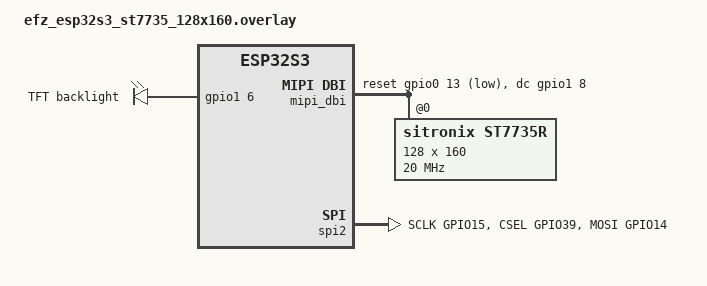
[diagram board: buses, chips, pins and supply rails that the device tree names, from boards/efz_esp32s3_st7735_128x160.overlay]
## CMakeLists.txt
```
#-------------------------------------------------------------------------------
# efz-handson application
#
# Copyright (c) 2021 Nordic Semiconductor ASA
# SPDX-License-Identifier: Apache-2.0

cmake_minimum_required(VERSION 3.13.1)

# 1.8" ST7735 by default, override with -DEXTRA_DTC_OVERLAY_FILE
if(NOT DEFINED EXTRA_DTC_OVERLAY_FILE)
  set(EXTRA_DTC_OVERLAY_FILE boards/efz_esp32s3_st7735_128x160.overlay)
endif()

find_package(Zephyr REQUIRED HINTS $ENV{ZEPHYR_BASE})

project(app LANGUAGES C)

target_include_directories(app PRIVATE src)
target_sources(app PRIVATE
  src/main.c
  src/lcd/lcd_show.c
)

# Modules
target_sources_ifdef(CONFIG_APP_MODULE_ENV app PRIVATE
  src/modules/env/env.c
  src/modules/env/env_page.c
)
target_sources_ifdef(CONFIG_APP_MODULE_IO app PRIVATE
  src/modules/io/io.c
  src/modules/io/io_page.c
)

# The code below locates the git index file for this repository and adds it as a dependency for
# the application VERSION file so that if the repo has a new commit added, even if no files in
# the build have changed, the application version file will be regenerated with the new git commit
find_package(Git QUIET)
if(GIT_FOUND)
  execute_process(
    COMMAND ${GIT_EXECUTABLE} rev-parse --absolute-git-dir
    WORKING_DIRECTORY .
    OUTPUT_VARIABLE application_git_dir
    OUTPUT_STRIP_TRAILING_WHITESPACE
    ERROR_STRIP_TRAILING_WHITESPACE
    ERROR_VARIABLE stderr
    RESULT_VARIABLE return_code
  )
  # If there is an error e.g. it is not a git repo, we just silently ignore it and continue
  # without a dependency, this will be the case with freestanding applications.
  if(NOT return_code)
    if(NOT "${stderr}" STREQUAL "")
      message(WARNING "Application build version git rev-parse warned: ${stderr}")
    endif()

    set_property(TARGET app_version_h PROPERTY APP_VERSION_DEPENDS ${application_git_dir}/index)
  endif()
endif()
```

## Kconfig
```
# Copyright (c) 2021 Nordic Semiconductor ASA
# SPDX-License-Identifier: Apache-2.0
#
# This file is the application Kconfig entry point. All application Kconfig
# options can be defined here or included via other application Kconfig files.
# You can browse these options using the west targets menuconfig (terminal) or
# guiconfig (GUI).

menu "Modules"
rsource "src/modules/env/Kconfig"
rsource "src/modules/io/Kconfig"
endmenu

menu "Zephyr"
source "Kconfig.zephyr"
endmenu

module = APP
module-str = APP
source "subsys/logging/Kconfig.template.log_config"
```

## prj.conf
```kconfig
# Copyright (c) 2021 Nordic Semiconductor ASA
# SPDX-License-Identifier: Apache-2.0
#
# This file contains selected Kconfig options for the application.

CONFIG_LOG=y
CONFIG_CBPRINTF_FP_SUPPORT=y

# Modules, all on by default
# CONFIG_APP_MODULE_ENV=n
# CONFIG_APP_MODULE_IO=n

# LCD
CONFIG_GPIO=y
CONFIG_INPUT=y
CONFIG_DISPLAY=y
CONFIG_ZBUS=y
CONFIG_ZBUS_MSG_SUBSCRIBER=y
CONFIG_ZBUS_CHANNEL_NAME=y
CONFIG_LVGL=y
CONFIG_LV_Z_MEM_POOL_SIZE=32768
CONFIG_LV_USE_CHART=y
CONFIG_LV_USE_BAR=y
CONFIG_LV_FONT_MONTSERRAT_10=y
CONFIG_LV_FONT_MONTSERRAT_12=y
CONFIG_LV_FONT_MONTSERRAT_24=y
```

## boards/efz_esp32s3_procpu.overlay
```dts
/* Read the SHT30 with our own driver instead of Zephyr's sht3xd. */
&sht30 {
	compatible = "embeddedfun,sht30";
};
```

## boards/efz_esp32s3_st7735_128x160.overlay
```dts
/*
 * EFZ-ESP32S3 + 1.8" TFT, ST7735, 128x160 portrait, SPI (8-pin header module).
 *
 * Jumper wires:
 *   GND -> GND, VDD -> 3V3, SCL -> GPIO15, SDA -> GPIO14, RES -> GPIO13,
 *   DC -> GPIO40, CS -> GPIO39, BL -> GPIO38.
 *
 * SPDX-License-Identifier: Apache-2.0
 */

#include <zephyr/dt-bindings/mipi_dbi/mipi_dbi.h>
#include <zephyr/dt-bindings/display/panel.h>

/ {
	chosen {
		zephyr,display = &st7735r;
	};

	mipi_dbi {
		compatible = "zephyr,mipi-dbi-spi";
		spi-dev = <&spi2>;
		dc-gpios = <&gpio1 8 GPIO_ACTIVE_HIGH>;		/* GPIO40 */
		reset-gpios = <&gpio0 13 GPIO_ACTIVE_LOW>;	/* GPIO13 */
		write-only;
		#address-cells = <1>;
		#size-cells = <0>;

		/* init values from the st7735r_ada_160x128 shield */
		st7735r: st7735r@0 {
			compatible = "sitronix,st7735r";
			reg = <0>;
			mipi-max-frequency = <20000000>;
			mipi-mode = "MIPI_DBI_MODE_SPI_4WIRE";
			width = <128>;
			height = <160>;
			x-offset = <2>;
			y-offset = <1>;
			madctl = <0xc0>;
			/* panel wants big-endian RGB565 */
			rgb-is-inverted;
			colmod = <0x55>;
			vmctr1 = <0x0e>;
			pwctr1 = [a2 02 84];
			pwctr2 = [c5];
			pwctr3 = [0a 00];
			pwctr4 = [8a 2a];
			pwctr5 = [8a ee];
			frmctr1 = [01 2c 2d];
			frmctr2 = [01 2c 2d];
			frmctr3 = [01 2c 2d 01 2c 2d];
			gamctrp1 = [02 1c 07 12 37 32 29 2d 29 25 2b 39 00 01 03 10];
			gamctrn1 = [03 1d 07 06 2e 2c 29 2d 2e 2e 37 3f 00 00 02 10];
		};
	};
};
&pinctrl {
	spim2_tft: spim2_tft {
		group1 {
			pinmux = <SPIM2_SCLK_GPIO15>,
				 <SPIM2_CSEL_GPIO39>;
		};

		group2 {
			pinmux = <SPIM2_MOSI_GPIO14>;
			output-low;
		};
	};
};

&spi2 {
	#address-cells = <1>;
	#size-cells = <0>;
	status = "okay";
	pinctrl-0 = <&spim2_tft>;
	pinctrl-names = "default";
};

/ {
	leds {
		/* high = on */
		tft_bl: tft_backlight {
			gpios = <&gpio1 6 GPIO_ACTIVE_HIGH>;	/* GPIO38 */
			label = "TFT backlight";
		};
	};
};
```

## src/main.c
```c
/*
 * Copyright (c) 2021 Nordic Semiconductor ASA
 * SPDX-License-Identifier: Apache-2.0
 */

#include <zephyr/kernel.h>
#include <zephyr/logging/log.h>

#include <zephyr/app_version.h>

LOG_MODULE_REGISTER(main, CONFIG_APP_LOG_LEVEL);

int main(void)
{
	printk("efz-handson %s\n", APP_VERSION_STRING);

	return 0;
}
```
